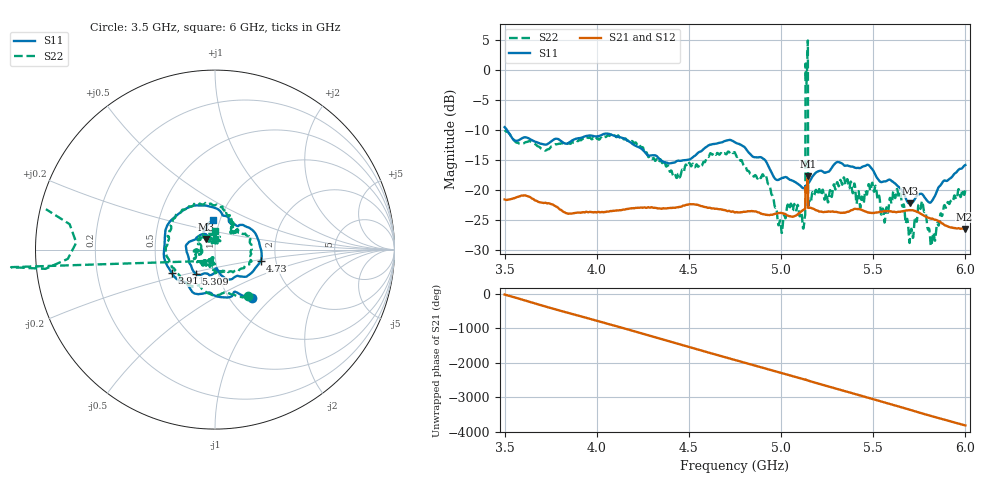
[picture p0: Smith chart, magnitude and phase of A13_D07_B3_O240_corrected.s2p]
! Created with skrf 1.9.0 (http://scikit-rf.org).
# Hz S RI R 50.0
!freq ReS11 ImS11 ReS21 ImS21 ReS12 ImS12 ReS22 ImS22
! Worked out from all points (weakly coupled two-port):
!   1601 points, 3.5 GHz to 6 GHz, reference 50 ohm
!   highest |S21| = -17.61 dB at 5.145 GHz (marker M1); lowest = -26.4 dB at 5.995 GHz (marker M2)
!   lowest |S11| = -22.2 dB at 5.698 GHz (marker M3), VSWR 1.17, Z = 44.8 + j5.31 ohm
!   |S11| at or under -10 dB: 3.514 GHz to end of sweep
!   |S22| runs from -29.3 to 5.0 dB; largest |S21 - S12| = 0.0013
!   S11 on the Smith chart (normalised r, x): 3.5 GHz: 1.26, -0.76; 3.911 GHz: 0.59, -0.17; 4.73 GHz: 1.66, -0.22; 5.309 GHz: 0.78, -0.22; 6 GHz: 0.93, +0.31
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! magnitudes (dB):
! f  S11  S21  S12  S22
! 3.5 GHz  -9.5  -21.5  -21.5  -10.0
! 3.911 GHz  -11.3  -23.7  -23.7  -11.6
! 3.917 GHz  -11.2  -23.7  -23.7  -11.6
! 4.334 GHz  -14.6  -23.0  -23.0  -15.3
! 4.442 GHz  -15.0  -22.8  -22.8  -17.2
! 4.73 GHz  -11.6  -23.6  -23.5  -13.4
! 4.75 GHz  -12.0  -23.7  -23.6  -13.7
! 4.912 GHz  -14.9  -24.0  -24.0  -17.8
! 4.995 GHz  -18.1  -23.8  -23.7  -25.0
! 5.119 GHz  -19.6  -23.3  -23.2  -26.3
! 5.133 GHz  -19.3  -19.5  -19.5  1.1
! 5.145 GHz  -18.9  -17.6  -17.6  5.0
! 5.159 GHz  -18.3  -22.9  -22.8  -22.1
! 5.167 GHz  -17.8  -23.0  -22.9  -20.7
! 5.309 GHz  -15.3  -23.7  -23.6  -19.0
! 5.584 GHz  -18.2  -23.5  -23.4  -22.7
! 5.639 GHz  -19.4  -23.6  -23.6  -21.2
! 5.698 GHz  -22.2  -23.3  -23.2  -28.3
! 5.758 GHz  -20.6  -23.9  -23.9  -22.9
! 5.823 GHz  -21.5  -24.7  -24.7  -27.4
! 5.995 GHz  -15.8  -26.4  -26.3  -20.6
! 6 GHz  -15.8  -26.4  -26.3  -19.8
